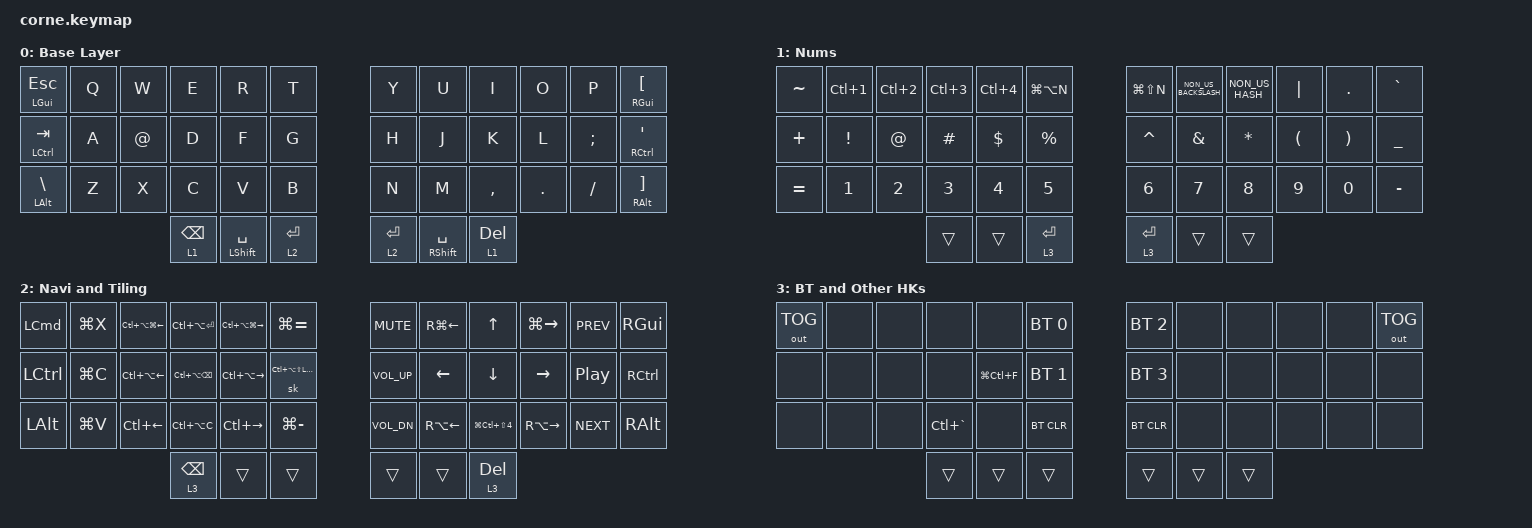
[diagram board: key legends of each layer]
/*
 * Copyright (c) 2020 The ZMK Contributors
 *
 * SPDX-License-Identifier: MIT
 */

#include <behaviors.dtsi>
#include <dt-bindings/zmk/bt.h>
#include <dt-bindings/zmk/keys.h>
#include <dt-bindings/zmk/outputs.h>

// dt-formatter: indent = "  "
// dt-formatter: reindentMultilineIntegerCells = "dedent"

&mt {
  // flavor = "balanced";
  // tapping-term-ms = <125>;
  // quick-tap-ms = <100>;
  // global-quick-tap;
};

&lt {
  // flavor = "balanced";
  // tapping-term-ms = <250>;
  // quick-tap-ms = <100>;
  // global-quick-tap;
};

/ {
  // behaviors {
  //   hm: homerow_mods {
  //     compatible = "zmk,behavior-hold-tap";
  //     label = "HOMEROW_MODS";
  //     #binding-cells = <2>;
  //     tapping-term-ms = <200>;
  //     quick-tap-ms = <0>;
  //     flavor = "tap-preferred";
  //     bindings =
  //       <&kp>,
  //       <&kp>;
  //   };
  // };

  combos {
    compatible = "zmk,combos";

    caps {
      bindings = <&kp CAPS>;
      key-positions = <12 13>;
    };

    del_word {
      bindings = <&kp LA(BACKSPACE)>;
      key-positions = <23 22>;
    };
  };

  macros {
  };

  keymap {
    compatible = "zmk,keymap";

    base {
      label = "Base Layer";
      bindings = <
&mt LEFT_GUI ESC   &kp Q  &kp W   &kp E            &kp R            &kp T          &kp Y        &kp U                  &kp I      &kp O    &kp P     &mt RIGHT_GUI LEFT_BRACKET
&mt LCTRL TAB      &kp A  &kp AT  &kp D            &kp F            &kp G          &kp H        &kp J                  &kp K      &kp L    &kp SEMI  &mt RCTRL APOS
&mt LEFT_ALT BSLH  &kp Z  &kp X   &kp C            &kp V            &kp B          &kp N        &kp M                  &kp COMMA  &kp DOT  &kp FSLH  &mt RIGHT_ALT RIGHT_BRACKET
                                  &lt 1 BACKSPACE  &mt LSHFT SPACE  &lt 2 ENTER    &lt 2 ENTER  &mt RIGHT_SHIFT SPACE  &lt 1 DEL
      >;
    };

    nums {
      label = "Nums";
      bindings = <
&kp TILDE  &kp LC(NUMBER_1)  &kp LC(NUMBER_2)  &kp LC(NUMBER_3)  &kp LC(NUMBER_4)  &kp LG(LA(N))    &kp LG(LS(N))  &kp NON_US_BACKSLASH  &kp NON_US_HASH  &kp PIPE              &kp DOT                &kp GRAVE
&kp PLUS   &kp EXCL          &kp AT            &kp HASH          &kp DOLLAR        &kp PERCENT      &kp CARET      &kp AMPERSAND         &kp ASTERISK     &kp LEFT_PARENTHESIS  &kp RIGHT_PARENTHESIS  &kp UNDER
&kp EQUAL  &kp NUMBER_1      &kp N2            &kp N3            &kp N4            &kp N5           &kp N6         &kp N7                &kp N8           &kp N9                &kp N0                 &kp MINUS
                                               &trans            &trans            &lt 3 ENTER      &lt 3 ENTER    &trans                &trans
      >;
    };

    navi_tiling {
      label = "Navi and Tiling";
      bindings = <
&kp LCMD      &kp LG(X)  &kp LC(LA(LG(LEFT_ARROW)))  &kp LC(LA(RETURN))     &kp LC(LA(LG(RIGHT_ARROW)))  &kp LG(EQUAL)               &kp K_MUTE    &kp RG(LEFT)        &kp UP              &kp LG(RIGHT_ARROW)  &kp C_PREV        &kp RIGHT_GUI
&kp LCTRL     &kp LG(C)  &kp LC(LA(LEFT))            &kp LC(LA(BACKSPACE))  &kp LC(LA(RIGHT))            &sk LC(LA(LS(LEFT_GUI)))    &kp C_VOL_UP  &kp LEFT            &kp DOWN            &kp RIGHT            &kp C_PLAY_PAUSE  &kp RCTRL
&kp LEFT_ALT  &kp LG(V)  &kp LC(LEFT)                &kp LC(LA(C))          &kp LC(RIGHT)                &kp LG(MINUS)               &kp C_VOL_DN  &kp RA(LEFT_ARROW)  &kp LG(LC(LS(N4)))  &kp RA(RIGHT_ARROW)  &kp C_NEXT        &kp RALT
                                                     &lt 3 BACKSPACE        &trans                       &trans                      &trans        &trans              &lt 3 DELETE
      >;
    };

    bt_misc {
      label = "BT and Other HKs";
      bindings = <
&out OUT_TOG  &none  &none  &none          &none          &bt BT_SEL 0    &bt BT_SEL 2  &none   &none   &none  &none  &out OUT_TOG
&none         &none  &none  &none          &kp LG(LC(F))  &bt BT_SEL 1    &bt BT_SEL 3  &none   &none   &none  &none  &none
&none         &none  &none  &kp LC(GRAVE)  &none          &bt BT_CLR      &bt BT_CLR    &none   &none   &none  &none  &none
                            &trans         &trans         &trans          &trans        &trans  &trans
      >;
    };
  };
};
